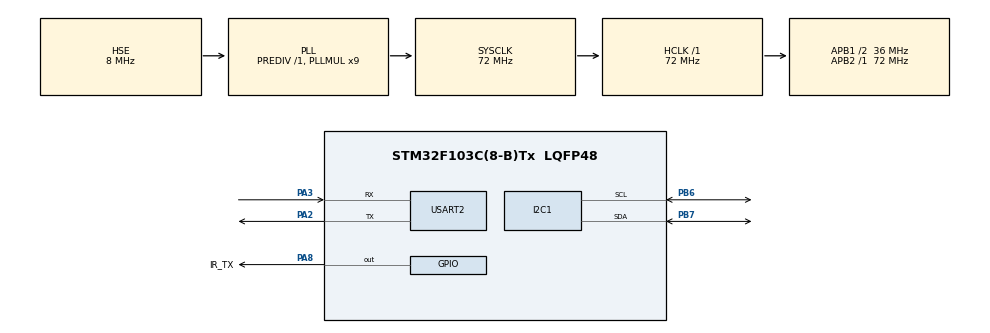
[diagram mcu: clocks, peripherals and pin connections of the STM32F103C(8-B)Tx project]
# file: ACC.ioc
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Mcu.Family=STM32F1
Mcu.Name=STM32F103C(8-B)Tx
Mcu.Package=LQFP48
NVIC.PriorityGroup=NVIC_PRIORITYGROUP_4
NVIC.TIM2_IRQn=true\:0\:0\:false\:false\:true\:true\:true\:true
NVIC.USART2_IRQn=true\:0\:0\:false\:false\:true\:true\:true\:true
PA13.Mode=Serial_Wire
PA13.Signal=SYS_JTMS-SWDIO
PA14.Mode=Serial_Wire
PA14.Signal=SYS_JTCK-SWCLK
PA2.Mode=Asynchronous
PA2.Signal=USART2_TX
PA3.Mode=Asynchronous
PA3.Signal=USART2_RX
PA8.GPIO_Label=IR_TX
PA8.GPIO_Speed=GPIO_SPEED_FREQ_HIGH
PA8.PinState=GPIO_PIN_SET
PA8.Signal=GPIO_Output
PB6.Mode=I2C
PB6.Signal=I2C1_SCL
PB7.Mode=I2C
PB7.Signal=I2C1_SDA
PD0-OSC_IN.Mode=HSE-External-Oscillator
PD0-OSC_IN.Signal=RCC_OSC_IN
PD1-OSC_OUT.Mode=HSE-External-Oscillator
PD1-OSC_OUT.Signal=RCC_OSC_OUT
ProjectManager.HeapSize=0x200
ProjectManager.StackSize=0x400
ProjectManager.TargetToolchain=MDK-ARM V5.32
RCC.AHBFreq_Value=72000000
RCC.APB1CLKDivider=RCC_HCLK_DIV2
RCC.APB1Freq_Value=36000000
RCC.APB1TimFreq_Value=72000000
RCC.APB2Freq_Value=72000000
RCC.APB2TimFreq_Value=72000000
RCC.HCLKFreq_Value=72000000
RCC.PLLMUL=RCC_PLL_MUL9
RCC.PLLSourceVirtual=RCC_PLLSOURCE_HSE
RCC.SYSCLKFreq_VALUE=72000000
RCC.SYSCLKSource=RCC_SYSCLKSOURCE_PLLCLK
RCC.USBFreq_Value=72000000
TIM2.Prescaler=72-1
USART2.VirtualMode=VM_ASYNC
VP_TIM2_VS_ClockSourceINT.Mode=Internal
board=custom

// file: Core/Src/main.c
/* USER CODE BEGIN Header */
/**
  ******************************************************************************
  * @file           : main.c
  * @brief          : Main program body
  ******************************************************************************
  * @attention
  *
  * Copyright (c) 2025 STMicroelectronics.
  * All rights reserved.
  *
  * This software is licensed under terms that can be found in the LICENSE file
  * in the root directory of this software component.
  * If no LICENSE file comes with this software, it is provided AS-IS.
  *
  ******************************************************************************
  */
/* USER CODE END Header */
#include "main.h"
#include "i2c.h"
#include "tim.h"
#include "usart.h"
#include "gpio.h"

/* USER CODE BEGIN Includes */
#include "aht20.h"
#include <stdio.h>
#include <string.h>
#include "ir.h"
#include "delay.h"
#include "esp8266_ap.h"
/* USER CODE END Includes */

void SystemClock_Config(void);

int main(void)
{

  /* MCU Configuration--------------------------------------------------------*/

  /* Reset of all peripherals, Initializes the Flash interface and the Systick. */
  HAL_Init();

  /* Configure the system clock */
  SystemClock_Config();

  /* Initialize all configured peripherals */
  MX_GPIO_Init();
  MX_I2C1_Init();
  MX_TIM2_Init();
  MX_USART2_UART_Init();
  /* USER CODE BEGIN 2 */
  AHT20_Init(); //温湿度传感器初始化

  int AC=0;
  float T,RH;
  char message[50];

  delay_init(72);
  IR_Init();	//红外发射初始化
  IR_Gree_PowerOn_24Cool();//初始模式为制冷24度
  sprintf(message,"ESP初始化中...\r\n");	//拼接输出字符
  HAL_UART_Transmit(&huart2,(uint8_t*)message,strlen(message),HAL_MAX_DELAY);	//串口发送信息
  ESP8266_Init(); //ESP初始化
  /* USER CODE END 2 */

  /* Infinite loop */
  while (1)
  {

    /* USER CODE BEGIN 3 */
	  AHT20_Read(&T,&RH);	//调用温湿度测量函数
	  sprintf(message,"温度:%.1f℃,湿度:%.1f %%\r\n",T,RH);	//拼接输出字符
	  HAL_UART_Transmit(&huart2,(uint8_t*)message,strlen(message),HAL_MAX_DELAY);	//串口发送信息

	  if(T>=26){
		  //格力空调开24度
		  IR_Gree_PowerOn_24Cool();

		  HAL_Delay(2000);//等待2s

		  //美的空调开24度
		  IR_Midea_PowerOn_24Cool();

		  //串口发送信息
		  sprintf(message,"空调开 \r\n");
		  HAL_UART_Transmit(&huart2,(uint8_t*)message,strlen(message),HAL_MAX_DELAY);
		  AC=1;
	  }

	  if(T>22 && T<26){
		  //串口发送信息
		  sprintf(message,"保持 \r\n");
		  HAL_UART_Transmit(&huart2,(uint8_t*)message,strlen(message),HAL_MAX_DELAY);
	  }

	  if(T<=22){
		  //格力空调关24度
		  IR_Gree_PowerOff_24Cool();

		  HAL_Delay(2000);//等待2s

		  //美的空调关24度
		  IR_Midea_PowerOff_24Cool();

		  //串口发送信息
		  sprintf(message,"空调关 \r\n");
		  HAL_UART_Transmit(&huart2,(uint8_t*)message,strlen(message),HAL_MAX_DELAY);
		  AC=0;
	  }

	  if(AC){
		  sprintf(message,"当前状态：空调：开,温度:%.1f℃,湿度:%.1f %%\r\n",T,RH);	//拼接输出字符
	  }else{
		  sprintf(message,"当前状态：空调：关,温度:%.1f℃,湿度:%.1f %%\r\n",T,RH);	//拼接输出字符
	  }
	  ESP8266_SendDataToPhone(message);		//esp8266发送信息

      /* 延时5秒后重复 */
      HAL_Delay(5000);
  }
  /* USER CODE END 3 */
}

void SystemClock_Config(void)
{
  RCC_OscInitTypeDef RCC_OscInitStruct = {0};
  RCC_ClkInitTypeDef RCC_ClkInitStruct = {0};

  /** Initializes the RCC Oscillators according to the specified parameters
  * in the RCC_OscInitTypeDef structure.
  */
  RCC_OscInitStruct.OscillatorType = RCC_OSCILLATORTYPE_HSE;
  RCC_OscInitStruct.HSEState = RCC_HSE_ON;
  RCC_OscInitStruct.HSEPredivValue = RCC_HSE_PREDIV_DIV1;
  RCC_OscInitStruct.HSIState = RCC_HSI_ON;
  RCC_OscInitStruct.PLL.PLLState = RCC_PLL_ON;
  RCC_OscInitStruct.PLL.PLLSource = RCC_PLLSOURCE_HSE;
  RCC_OscInitStruct.PLL.PLLMUL = RCC_PLL_MUL9;
  if (HAL_RCC_OscConfig(&RCC_OscInitStruct) != HAL_OK)
  {
    Error_Handler();
  }

  /** Initializes the CPU, AHB and APB buses clocks
  */
  RCC_ClkInitStruct.ClockType = RCC_CLOCKTYPE_HCLK|RCC_CLOCKTYPE_SYSCLK
                              |RCC_CLOCKTYPE_PCLK1|RCC_CLOCKTYPE_PCLK2;
  RCC_ClkInitStruct.SYSCLKSource = RCC_SYSCLKSOURCE_PLLCLK;
  RCC_ClkInitStruct.AHBCLKDivider = RCC_SYSCLK_DIV1;
  RCC_ClkInitStruct.APB1CLKDivider = RCC_HCLK_DIV2;
  RCC_ClkInitStruct.APB2CLKDivider = RCC_HCLK_DIV1;

  if (HAL_RCC_ClockConfig(&RCC_ClkInitStruct, FLASH_LATENCY_2) != HAL_OK)
  {
    Error_Handler();
  }
}

void Error_Handler(void)
{
  __disable_irq();
  while (1)
  {
  }
}
